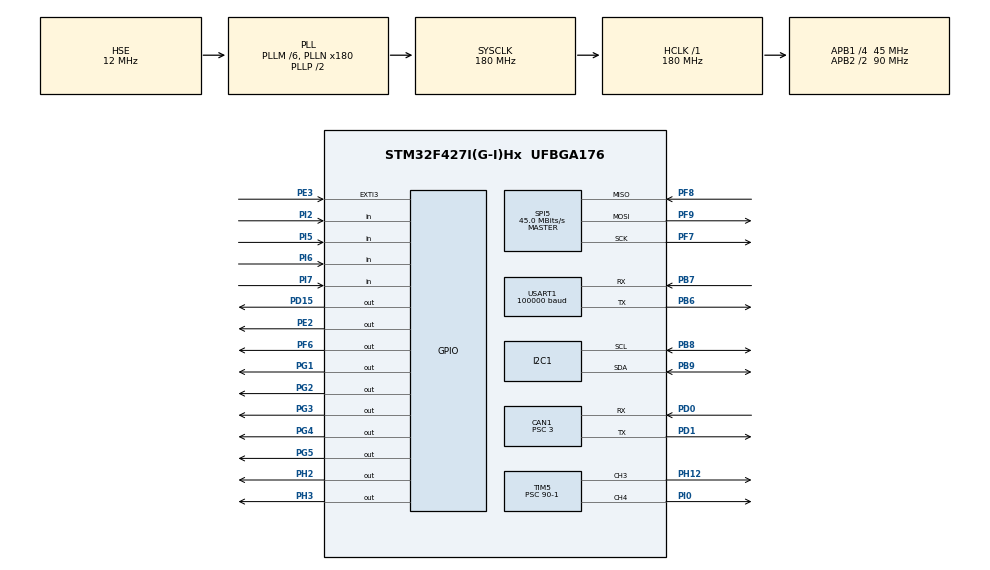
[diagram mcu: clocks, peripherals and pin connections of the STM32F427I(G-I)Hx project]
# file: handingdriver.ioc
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CAN1.ABOM=ENABLE
CAN1.BS1=CAN_BS1_13TQ
CAN1.CalculateBaudRate=1000000
CAN1.CalculateTimeBit=1000
CAN1.CalculateTimeQuantum=66.66666666666666
CAN1.Prescaler=3
CAN1.RFLM=ENABLE
CAN1.SJW=CAN_SJW_1TQ
Dma.Request0=USART1_RX
Dma.USART1_RX.0.Direction=DMA_PERIPH_TO_MEMORY
Dma.USART1_RX.0.FIFOMode=DMA_FIFOMODE_DISABLE
Dma.USART1_RX.0.Instance=DMA2_Stream2
Dma.USART1_RX.0.MemDataAlignment=DMA_MDATAALIGN_BYTE
Dma.USART1_RX.0.MemInc=DMA_MINC_ENABLE
Dma.USART1_RX.0.Mode=DMA_CIRCULAR
Dma.USART1_RX.0.PeriphDataAlignment=DMA_PDATAALIGN_BYTE
Dma.USART1_RX.0.PeriphInc=DMA_PINC_DISABLE
Dma.USART1_RX.0.Priority=DMA_PRIORITY_VERY_HIGH
FREERTOS.Tasks01=defaultTask,0,128,StartDefaultTask,Default,NULL,Dynamic,NULL,NULL;getdata_task,3,128,Start_getdata_task,Default,NULL,Dynamic,NULL,NULL;go_task,-3,128,Start_go_task,Default,NULL,Dynamic,NULL,NULL;hand_task,-3,128,Start_hand_task,Default,NULL,Dynamic,NULL,NULL
I2C1.I2C_Mode=I2C_Fast
Mcu.Family=STM32F4
Mcu.Name=STM32F427I(G-I)Hx
Mcu.Package=UFBGA176
NVIC.CAN1_RX0_IRQn=true\:5\:0\:false\:false\:true\:true\:true\:true\:true
NVIC.CAN1_TX_IRQn=true\:5\:0\:false\:false\:true\:true\:true\:true\:true
NVIC.DMA2_Stream2_IRQn=true\:5\:0\:false\:false\:true\:true\:false\:true\:true
NVIC.EXTI3_IRQn=true\:5\:0\:false\:false\:true\:true\:true\:true\:true
NVIC.PriorityGroup=NVIC_PRIORITYGROUP_4
NVIC.TIM1_UP_TIM10_IRQn=true\:15\:0\:false\:false\:true\:false\:false\:true\:true
NVIC.TIM5_IRQn=true\:5\:0\:false\:false\:true\:true\:true\:true\:true
NVIC.TIM6_DAC_IRQn=true\:5\:0\:false\:false\:true\:true\:true\:true\:true
NVIC.TimeBase=TIM1_UP_TIM10_IRQn
NVIC.TimeBaseIP=TIM1
PA13.Mode=Serial_Wire
PA13.Signal=SYS_JTMS-SWDIO
PA14.Mode=Serial_Wire
PA14.Signal=SYS_JTCK-SWCLK
PB6.Mode=Asynchronous
PB6.Signal=USART1_TX
PB7.Mode=Asynchronous
PB7.Signal=USART1_RX
PB8.Mode=I2C
PB8.Signal=I2C1_SCL
PB9.Mode=I2C
PB9.Signal=I2C1_SDA
PD0.GPIO_PuPd=GPIO_PULLUP
PD0.Mode=CAN_Activate
PD0.Signal=CAN1_RX
PD1.GPIO_PuPd=GPIO_PULLUP
PD1.Mode=CAN_Activate
PD1.Signal=CAN1_TX
PD15.Signal=GPIO_Output
PE2.Signal=GPIO_Output
PE3.GPIO_ModeDefaultEXTI=GPIO_MODE_IT_FALLING
PE3.GPIO_PuPd=GPIO_PULLUP
PE3.Signal=GPXTI3
PF6.Signal=GPIO_Output
PF7.Mode=Full_Duplex_Master
PF7.Signal=SPI5_SCK
PF8.Mode=Full_Duplex_Master
PF8.Signal=SPI5_MISO
PF9.Mode=Full_Duplex_Master
PF9.Signal=SPI5_MOSI
PG1.Signal=GPIO_Output
PG2.Signal=GPIO_Output
PG3.Signal=GPIO_Output
PG4.Signal=GPIO_Output
PG5.Signal=GPIO_Output
PH0/OSC_IN.Mode=HSE-External-Oscillator
PH0/OSC_IN.Signal=RCC_OSC_IN
PH1/OSC_OUT.Mode=HSE-External-Oscillator
PH1/OSC_OUT.Signal=RCC_OSC_OUT
PH12.Signal=S_TIM5_CH3
PH2.PinState=GPIO_PIN_SET
PH2.Signal=GPIO_Output
PH3.PinState=GPIO_PIN_SET
PH3.Signal=GPIO_Output
PI0.Signal=S_TIM5_CH4
PI2.Signal=GPIO_Input
PI5.Signal=GPIO_Input
PI6.Signal=GPIO_Input
PI7.Signal=GPIO_Input
ProjectManager.HeapSize=0x200
ProjectManager.StackSize=0x400
ProjectManager.TargetToolchain=MDK-ARM V5.32
RCC.48MHZClocksFreq_Value=90000000
RCC.AHBFreq_Value=180000000
RCC.APB1CLKDivider=RCC_HCLK_DIV4
RCC.APB1Freq_Value=45000000
RCC.APB1TimFreq_Value=90000000
RCC.APB2CLKDivider=RCC_HCLK_DIV2
RCC.APB2Freq_Value=90000000
RCC.APB2TimFreq_Value=180000000
RCC.CortexFreq_Value=180000000
RCC.HCLKFreq_Value=180000000
RCC.HSE_VALUE=12000000
RCC.HSI_VALUE=16000000
RCC.LSE_VALUE=32768
RCC.PLLM=6
RCC.PLLN=180
RCC.PLLSourceVirtual=RCC_PLLSOURCE_HSE
RCC.SYSCLKFreq_VALUE=180000000
RCC.SYSCLKSource=RCC_SYSCLKSOURCE_PLLCLK
RCC.VCOOutputFreq_Value=360000000
SH.S_TIM5_CH3.0=TIM5_CH3,PWM Generation3 CH3
SH.S_TIM5_CH4.0=TIM5_CH4,PWM Generation4 CH4
SPI5.CalculateBaudRate=45.0 MBits/s
SPI5.Direction=SPI_DIRECTION_2LINES
SPI5.Mode=SPI_MODE_MASTER
SPI5.VirtualType=VM_MASTER
TIM5.Channel-PWM\ Generation3\ CH3=TIM_CHANNEL_3
TIM5.Channel-PWM\ Generation4\ CH4=TIM_CHANNEL_4
TIM5.Period=20000-1
TIM5.Prescaler=90-1
TIM6.Period=90-1
TIM6.Prescaler=1000
USART1.BaudRate=100000
USART1.VirtualMode=VM_ASYNC
VP_FREERTOS_VS_CMSIS_V1.Mode=CMSIS_V1
VP_SYS_VS_tim1.Mode=TIM1
VP_TIM6_VS_ClockSourceINT.Mode=Enable_Timer
board=custom

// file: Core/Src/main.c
/* USER CODE BEGIN Header */
/**
  ******************************************************************************
  * @file           : main.c
  * @brief          : Main program body
  ******************************************************************************
  * @attention
  *
  * Copyright (c) 2022 STMicroelectronics.
  * All rights reserved.
  *
  * This software is licensed under terms that can be found in the LICENSE file
  * in the root directory of this software component.
  * If no LICENSE file comes with this software, it is provided AS-IS.
  *
  ******************************************************************************
  */
/* USER CODE END Header */
#include "main.h"
#include "cmsis_os.h"
#include "can.h"
#include "dma.h"
#include "i2c.h"
#include "spi.h"
#include "tim.h"
#include "usart.h"
#include "gpio.h"

/* USER CODE BEGIN Includes */
#include "motor.h"
#include "pid.h"
#include "servo.h"
#include "ist8310driver.h"
/* USER CODE END Includes */

void SystemClock_Config(void);
void MX_FREERTOS_Init(void);

int main(void)
{

  /* MCU Configuration--------------------------------------------------------*/

  /* Reset of all peripherals, Initializes the Flash interface and the Systick. */
  HAL_Init();

  /* Configure the system clock */
  SystemClock_Config();

  /* Initialize all configured peripherals */
  MX_GPIO_Init();
  MX_DMA_Init();
  MX_CAN1_Init();
  MX_USART1_UART_Init();
  MX_TIM6_Init();
  MX_TIM5_Init();
  MX_I2C1_Init();
  MX_SPI5_Init();
  /* USER CODE BEGIN 2 */

/* motor initial */
	can_filter_init();
  PID_SET_Init();
  ist8310_init();
 /* servo initial */
  servo_init();
  /* USER CODE END 2 */

  /* Call init function for freertos objects (in freertos.c) */
  MX_FREERTOS_Init();

  /* Start scheduler */
  osKernelStart();

  /* We should never get here as control is now taken by the scheduler */
  /* Infinite loop */
  while (1)
  {

  }
}

void SystemClock_Config(void)
{
  RCC_OscInitTypeDef RCC_OscInitStruct = {0};
  RCC_ClkInitTypeDef RCC_ClkInitStruct = {0};

  /** Configure the main internal regulator output voltage
  */
  __HAL_RCC_PWR_CLK_ENABLE();
  __HAL_PWR_VOLTAGESCALING_CONFIG(PWR_REGULATOR_VOLTAGE_SCALE1);

  /** Initializes the RCC Oscillators according to the specified parameters
  * in the RCC_OscInitTypeDef structure.
  */
  RCC_OscInitStruct.OscillatorType = RCC_OSCILLATORTYPE_HSE;
  RCC_OscInitStruct.HSEState = RCC_HSE_ON;
  RCC_OscInitStruct.PLL.PLLState = RCC_PLL_ON;
  RCC_OscInitStruct.PLL.PLLSource = RCC_PLLSOURCE_HSE;
  RCC_OscInitStruct.PLL.PLLM = 6;
  RCC_OscInitStruct.PLL.PLLN = 180;
  RCC_OscInitStruct.PLL.PLLP = RCC_PLLP_DIV2;
  RCC_OscInitStruct.PLL.PLLQ = 4;
  if (HAL_RCC_OscConfig(&RCC_OscInitStruct) != HAL_OK)
  {
    Error_Handler();
  }

  /** Activate the Over-Drive mode
  */
  if (HAL_PWREx_EnableOverDrive() != HAL_OK)
  {
    Error_Handler();
  }

  /** Initializes the CPU, AHB and APB buses clocks
  */
  RCC_ClkInitStruct.ClockType = RCC_CLOCKTYPE_HCLK|RCC_CLOCKTYPE_SYSCLK
                              |RCC_CLOCKTYPE_PCLK1|RCC_CLOCKTYPE_PCLK2;
  RCC_ClkInitStruct.SYSCLKSource = RCC_SYSCLKSOURCE_PLLCLK;
  RCC_ClkInitStruct.AHBCLKDivider = RCC_SYSCLK_DIV1;
  RCC_ClkInitStruct.APB1CLKDivider = RCC_HCLK_DIV4;
  RCC_ClkInitStruct.APB2CLKDivider = RCC_HCLK_DIV2;

  if (HAL_RCC_ClockConfig(&RCC_ClkInitStruct, FLASH_LATENCY_5) != HAL_OK)
  {
    Error_Handler();
  }
}

void HAL_TIM_PeriodElapsedCallback(TIM_HandleTypeDef *htim)
{
  if (htim->Instance == TIM1) {
    HAL_IncTick();
  }
}

void Error_Handler(void)
{
  __disable_irq();
  while (1)
  {
  }
}

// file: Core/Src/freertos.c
/* USER CODE BEGIN Header */
/**
  ******************************************************************************
  * File Name          : freertos.c
  * Description        : Code for freertos applications
  ******************************************************************************
  * @attention
  *
  * Copyright (c) 2022 STMicroelectronics.
  * All rights reserved.
  *
  * This software is licensed under terms that can be found in the LICENSE file
  * in the root directory of this software component.
  * If no LICENSE file comes with this software, it is provided AS-IS.
  *
  ******************************************************************************
  */
/* USER CODE END Header */

#include "FreeRTOS.h"
#include "task.h"
#include "main.h"
#include "cmsis_os.h"

/* USER CODE BEGIN Includes */
#include "gotask.h"	//go task
#include "handtask.h"	//hand task
#include "getdatatask.h"	//getdata task
/* USER CODE END Includes */

osThreadId defaultTaskHandle;
osThreadId getdata_taskHandle;
osThreadId go_taskHandle;
osThreadId hand_taskHandle;

void StartDefaultTask(void const * argument);
void Start_getdata_task(void const * argument);
void Start_go_task(void const * argument);
void Start_hand_task(void const * argument);

void MX_FREERTOS_Init(void); /* (MISRA C 2004 rule 8.1) */

/* GetIdleTaskMemory prototype (linked to static allocation support) */
void vApplicationGetIdleTaskMemory( StaticTask_t **ppxIdleTaskTCBBuffer, StackType_t **ppxIdleTaskStackBuffer, uint32_t *pulIdleTaskStackSize );

/* USER CODE BEGIN GET_IDLE_TASK_MEMORY */
static StaticTask_t xIdleTaskTCBBuffer;
static StackType_t xIdleStack[configMINIMAL_STACK_SIZE];

void vApplicationGetIdleTaskMemory( StaticTask_t **ppxIdleTaskTCBBuffer, StackType_t **ppxIdleTaskStackBuffer, uint32_t *pulIdleTaskStackSize )
{
  *ppxIdleTaskTCBBuffer = &xIdleTaskTCBBuffer;
  *ppxIdleTaskStackBuffer = &xIdleStack[0];
  *pulIdleTaskStackSize = configMINIMAL_STACK_SIZE;
  /* place for user code */
}
/* USER CODE END GET_IDLE_TASK_MEMORY */

void MX_FREERTOS_Init(void) {

  /* Create the thread(s) */
  /* definition and creation of defaultTask */
  osThreadDef(defaultTask, StartDefaultTask, osPriorityNormal, 0, 128);
  defaultTaskHandle = osThreadCreate(osThread(defaultTask), NULL);

  /* definition and creation of getdata_task */
  osThreadDef(getdata_task, Start_getdata_task, osPriorityRealtime, 0, 128);
  getdata_taskHandle = osThreadCreate(osThread(getdata_task), NULL);

  /* definition and creation of go_task */
  osThreadDef(go_task, Start_go_task, osPriorityIdle, 0, 128);
  go_taskHandle = osThreadCreate(osThread(go_task), NULL);

  /* definition and creation of hand_task */
  osThreadDef(hand_task, Start_hand_task, osPriorityIdle, 0, 128);
  hand_taskHandle = osThreadCreate(osThread(hand_task), NULL);

}

void StartDefaultTask(void const * argument)
{
  for(;;)
  {
    osDelay(1);
  }
}

void Start_getdata_task(void const * argument)
{
  /* USER CODE BEGIN Start_getdata_task */
  /* Infinite loop */
  for(;;)
  {
    osDelay(1);
    getdatatask();
  }
  /* USER CODE END Start_getdata_task */
}

void Start_go_task(void const * argument)
{
  /* USER CODE BEGIN Start_go_task */
  HAL_Delay(500);
  /* Infinite loop */
  for(;;)
  {
    osDelay(4);
    gotask();
  }
  /* USER CODE END Start_go_task */
}

void Start_hand_task(void const * argument)
{
  /* USER CODE BEGIN Start_hand_task */
  /* Infinite loop */
  for(;;)
  {
    osDelay(8);
    handtask();
  }
  /* USER CODE END Start_hand_task */
}
